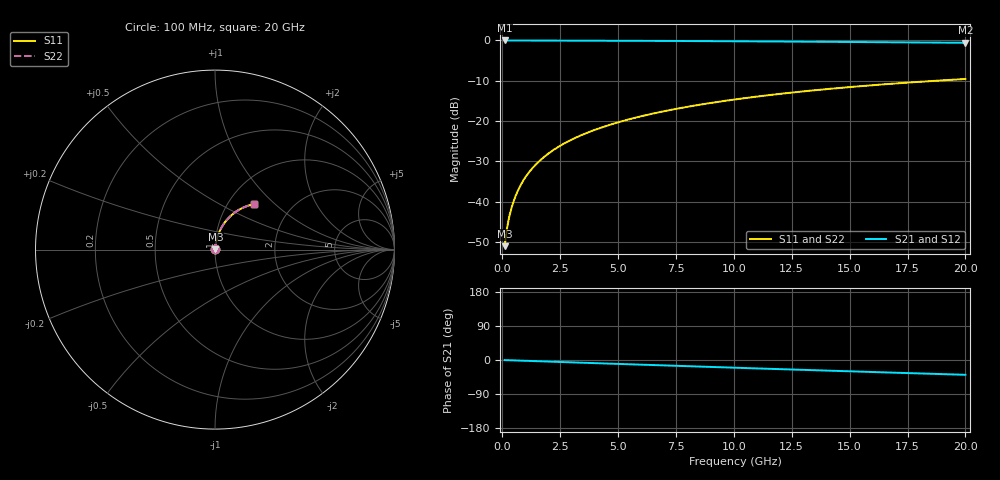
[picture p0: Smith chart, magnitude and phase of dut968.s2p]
! Touchstone file exported from HFSS 2026.1.0
!  File:  C:/ffzhzh/LocalFiles/Ansys_Project_Files/temp_train_TMRDL_968_1783158965_22436.aedt
!  Generated:  05:57:27 PM Jul  4, 2026
!  Design:  TMRDL
!  Project:  temp_train_TMRDL_968_1783158965_22436
! Variables:
!  h_bsmrdl = 2um
!  h_ox = 20um
!  h_rdl = 5um
!  h_sub = 80um
!  h_tmrdl = 5.01um
!  h_tsv = 80um
!  h_via = 3um
!  l_bsmrdl = 300um
!  l_sub = 980.4um
!  l_tmrdl = 580.4um
!  m_sub = 200um
!  pitch = 52.7um
!  r_tsv = 6um
!  s_tmrdl = 10um
!  w_bsmrdl = 18um
!  w_sub = 500um
!  w_tmrdl = 25.82um
!  x_tsv_center1 = 593.31um
!  x_tsv_center2 = 911.31um
!  x_tsv_center3 = 1517.53um
!  x_tsv_center4 = 1835.53um
!  x_tsv_center5 = 2441.75um
!  x_tsv_center6 = 2759.75um
# GHz S MA R 50.000000
! Terminal data exported
! Port[1] = TM_RDL1_1_T1
! Port[2] = TM_RDL1_1_T2
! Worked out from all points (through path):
!   200 points, 100 MHz to 20 GHz, reference 50 ohm
!   highest |S21| = -0.02 dB at 100 MHz (marker M1); lowest = -0.6 dB at 20 GHz (marker M2)
!   group delay of S21, straight-line fit = 5.42 ps
!   lowest |S11| = -51.0 dB at 100 MHz (marker M3), VSWR 1.01, Z = 50.2 + j0.218 ohm
!   |S11| at or under -10 dB: start of sweep to 18.73 GHz
!   |S22| runs from -51.0 to -9.6 dB; largest |S21 - S12| = 3.4e-15
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0.1  0.00282 50.5  0.9982 -0.2  0.9982 -0.2  0.00282 50.5
! Gamma 0 0 0 0
! Port Impedance 50 0 50 0
0.2  0.004651 65.1  0.9981 -0.4  0.9981 -0.4  0.004651 65.1
0.3  0.006539 71.3  0.998 -0.6  0.998 -0.6  0.006539 71.3
0.4  0.008449 74.8  0.9979 -0.9  0.9979 -0.9  0.008449 74.8
0.5  0.01038 77.0  0.9978 -1.1  0.9978 -1.1  0.01038 77.0
0.7  0.01428 79.6  0.9977 -1.5  0.9977 -1.5  0.01428 79.6
0.8  0.01624 80.3  0.9976 -1.7  0.9976 -1.7  0.01624 80.3
1  0.02017 81.2  0.9975 -2.1  0.9975 -2.1  0.02017 81.2
1.2  0.02411 81.7  0.9973 -2.5  0.9973 -2.5  0.02411 81.7
1.4  0.02804 81.9  0.9971 -2.9  0.9971 -2.9  0.02804 81.9
1.7  0.03392 81.9  0.9967 -3.6  0.9967 -3.6  0.03392 81.9
2  0.03978 81.7  0.9963 -4.2  0.9963 -4.2  0.03978 81.7
2.7  0.05332 80.8  0.9953 -5.6  0.9953 -5.6  0.05332 80.8
3.5  0.06857 79.5  0.9938 -7.3  0.9938 -7.3  0.06857 79.5
4.2  0.08172 78.3  0.9923 -8.7  0.9923 -8.7  0.08172 78.3
5  0.09656 76.8  0.9905 -10.3  0.9905 -10.3  0.09656 76.8
6.8  0.1292 73.5  0.9859 -14.0  0.9859 -14.0  0.1292 73.5
8.3  0.1556 70.7  0.9814 -16.9  0.9814 -16.9  0.1556 70.7
10.1  0.1864 67.4  0.9755 -20.5  0.9755 -20.5  0.1864 67.4
13.4  0.2397 61.3  0.9629 -26.9  0.9629 -26.9  0.2397 61.3
16.7  0.2886 55.3  0.9489 -33.1  0.9489 -33.1  0.2886 55.3
20  0.3326 49.4  0.9341 -39.1  0.9341 -39.1  0.3326 49.4
